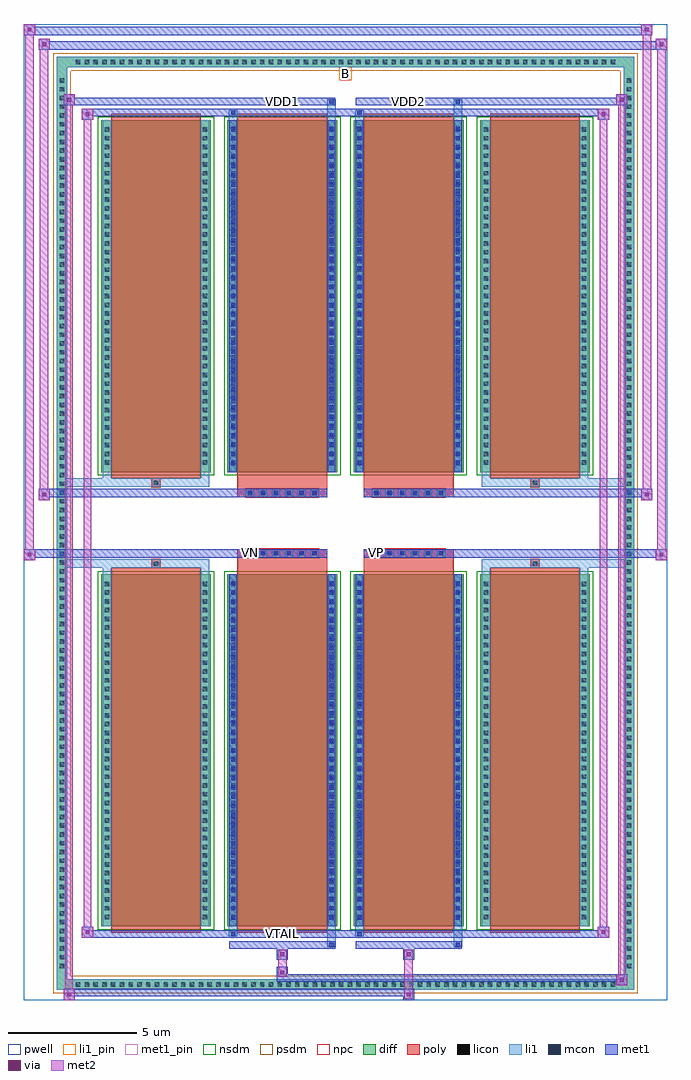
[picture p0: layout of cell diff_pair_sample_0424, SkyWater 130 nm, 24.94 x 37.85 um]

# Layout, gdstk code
import gdstk
lib = gdstk.Library(unit=1e-6, precision=5e-09)
def R(c, l, rs):  # rectangles x0, y0, x1, y1
    for r in rs: c.add(gdstk.rectangle(r[:2], r[2:], *l))
def A(c, l, x, y, w, h, nx, ny, dx, dy):  # array of equal rectangles
    R(c, l, [(x+i*dx, y+j*dy, x+i*dx+w, y+j*dy+h) for i in range(nx) for j in range(ny)])
def P(c, l, *ps):  # polygons
    for p in ps: c.add(gdstk.Polygon(p, *l))
pwell = (64, 44)
diff = (65, 20)
poly = (66, 20)
licon = (66, 44)
li1_pin = (67, 16)
li1 = (67, 20)
mcon = (67, 44)
met1_pin = (68, 16)
met1 = (68, 20)
via = (68, 44)
met2 = (69, 20)
nsdm = (93, 44)
psdm = (94, 20)
npc = (95, 20)

diff_pair_sample_0424 = lib.new_cell('diff_pair_sample_0424')
R(diff_pair_sample_0424, pwell, [(-12.47,-18.49,12.47,19.36), (-9.79,-16.68,-0.01,-0.8), (0.01,-16.68,9.79,-0.8), (-9.79,0.8,-0.01,16.68), (0.01,0.8,9.79,16.68)])
A(diff_pair_sample_0424, diff, -10.575, -18.09, 0.41, 0.41, 62, 2, 0.34, 35.77)
A(diff_pair_sample_0424, diff, -11.2, -17.375, 0.41, 0.41, 1, 102, 0, 0.34)
A(diff_pair_sample_0424, diff, 10.79, -17.375, 0.41, 0.41, 1, 102, 0, 0.34)
A(diff_pair_sample_0424, diff, -9.48, -15.635, 4.26, 13.65, 4, 2, 4.9, 17.62)
R(diff_pair_sample_0424, diff, [(-10.575,-18.09,10.575,-17.68), (-11.2,-17.375,-10.79,17.375), (10.79,-17.375,11.2,17.375), (-10.575,17.68,10.575,18.09)])
P(diff_pair_sample_0424, diff, [(11.2,18.09),(-11.2,18.09),(-11.2,-17.68),(-10.79,-17.68),(-10.79,17.68),(10.79,17.68),(10.79,-17.68),(-10.79,-17.68),(-11.2,-17.68),(-11.2,-18.09),(11.2,-18.09)])
A(diff_pair_sample_0424, poly, -9.09, -15.885, 3.48, 14.15, 4, 2, 4.9, 17.62)
A(diff_pair_sample_0424, poly, -3.865, -1.33, 0.33, 0.33, 6, 2, 0.5, 2.33)
A(diff_pair_sample_0424, poly, 1.035, -1.33, 0.33, 0.33, 6, 2, 0.5, 2.33)
R(diff_pair_sample_0424, poly, [(-7.515,-1.735,-7.185,-1.405), (-7.515,-1.735,-7.185,-1.405), (-4.19,-1.735,-0.71,-1.33), (0.71,-1.735,4.19,-1.33), (7.185,-1.735,7.515,-1.405), (7.185,-1.735,7.515,-1.405), (-4.19,-1.33,-0.71,-1), (0.71,-1.33,4.19,-1), (-4.19,1,-0.71,1.33), (0.71,1,4.19,1.33), (-4.19,1.33,-0.71,1.735), (0.71,1.33,4.19,1.735), (-7.515,1.405,-7.185,1.735), (-7.515,1.405,-7.185,1.735), (7.185,1.405,7.515,1.735), (7.185,1.405,7.515,1.735)])
A(diff_pair_sample_0424, licon, -10.455, -17.97, 0.17, 0.17, 62, 2, 0.34, 35.77)
A(diff_pair_sample_0424, licon, -11.08, -17.255, 0.17, 0.17, 1, 102, 0, 0.34)
A(diff_pair_sample_0424, licon, 10.91, -17.255, 0.17, 0.17, 1, 102, 0, 0.34)
A(diff_pair_sample_0424, licon, -9.34, -15.355, 0.17, 0.17, 1, 39, 0, 0.34)
A(diff_pair_sample_0424, licon, -5.53, -15.355, 0.17, 0.17, 1, 39, 0, 0.34)
A(diff_pair_sample_0424, licon, -4.44, -15.355, 0.17, 0.17, 1, 39, 0, 0.34)
A(diff_pair_sample_0424, licon, -0.63, -15.355, 0.17, 0.17, 1, 39, 0, 0.34)
A(diff_pair_sample_0424, licon, 0.46, -15.355, 0.17, 0.17, 1, 39, 0, 0.34)
A(diff_pair_sample_0424, licon, 4.27, -15.355, 0.17, 0.17, 1, 39, 0, 0.34)
A(diff_pair_sample_0424, licon, 5.36, -15.355, 0.17, 0.17, 1, 39, 0, 0.34)
A(diff_pair_sample_0424, licon, 9.17, -15.355, 0.17, 0.17, 1, 39, 0, 0.34)
A(diff_pair_sample_0424, licon, -3.785, -1.25, 0.17, 0.17, 6, 2, 0.5, 2.33)
A(diff_pair_sample_0424, licon, 1.115, -1.25, 0.17, 0.17, 6, 2, 0.5, 2.33)
A(diff_pair_sample_0424, licon, -9.34, 2.265, 0.17, 0.17, 1, 39, 0, 0.34)
A(diff_pair_sample_0424, licon, -5.53, 2.265, 0.17, 0.17, 1, 39, 0, 0.34)
A(diff_pair_sample_0424, licon, -4.44, 2.265, 0.17, 0.17, 1, 39, 0, 0.34)
A(diff_pair_sample_0424, licon, -0.63, 2.265, 0.17, 0.17, 1, 39, 0, 0.34)
A(diff_pair_sample_0424, licon, 0.46, 2.265, 0.17, 0.17, 1, 39, 0, 0.34)
A(diff_pair_sample_0424, licon, 4.27, 2.265, 0.17, 0.17, 1, 39, 0, 0.34)
A(diff_pair_sample_0424, licon, 5.36, 2.265, 0.17, 0.17, 1, 39, 0, 0.34)
A(diff_pair_sample_0424, licon, 9.17, 2.265, 0.17, 0.17, 1, 39, 0, 0.34)
R(diff_pair_sample_0424, licon, [(-7.435,-1.655,-7.265,-1.485), (7.265,-1.655,7.435,-1.485), (-7.435,1.485,-7.265,1.655), (7.265,1.485,7.435,1.655)])
R(diff_pair_sample_0424, li1_pin, [(-0.25,17.18,0.25,17.68)])
A(diff_pair_sample_0424, li1, -10.535, -18.05, 0.33, 0.33, 62, 2, 0.34, 35.77)
A(diff_pair_sample_0424, li1, -11.16, -17.335, 0.33, 0.33, 1, 102, 0, 0.34)
A(diff_pair_sample_0424, li1, 10.83, -17.335, 0.33, 0.33, 1, 102, 0, 0.34)
A(diff_pair_sample_0424, li1, -9.42, -15.435, 0.33, 0.33, 1, 39, 0, 0.34)
A(diff_pair_sample_0424, li1, -5.61, -15.435, 0.33, 0.33, 1, 39, 0, 0.34)
A(diff_pair_sample_0424, li1, -4.52, -15.435, 0.33, 0.33, 1, 39, 0, 0.34)
A(diff_pair_sample_0424, li1, -0.71, -15.435, 0.33, 0.33, 1, 39, 0, 0.34)
A(diff_pair_sample_0424, li1, 0.38, -15.435, 0.33, 0.33, 1, 39, 0, 0.34)
A(diff_pair_sample_0424, li1, 4.19, -15.435, 0.33, 0.33, 1, 39, 0, 0.34)
A(diff_pair_sample_0424, li1, 5.28, -15.435, 0.33, 0.33, 1, 39, 0, 0.34)
A(diff_pair_sample_0424, li1, 9.09, -15.435, 0.33, 0.33, 1, 39, 0, 0.34)
A(diff_pair_sample_0424, li1, -4.44, -15.375, 0.17, 0.17, 1, 37, 0, 0.36)
A(diff_pair_sample_0424, li1, -0.63, -15.375, 0.17, 0.17, 1, 37, 0, 0.36)
A(diff_pair_sample_0424, li1, 0.46, -15.375, 0.17, 0.17, 1, 37, 0, 0.36)
A(diff_pair_sample_0424, li1, 4.27, -15.375, 0.17, 0.17, 1, 37, 0, 0.36)
A(diff_pair_sample_0424, li1, -3.865, -1.33, 0.33, 0.33, 6, 2, 0.5, 2.33)
A(diff_pair_sample_0424, li1, 1.035, -1.33, 0.33, 0.33, 6, 2, 0.5, 2.33)
A(diff_pair_sample_0424, li1, -9.42, 2.185, 0.33, 0.33, 1, 39, 0, 0.34)
A(diff_pair_sample_0424, li1, -5.61, 2.185, 0.33, 0.33, 1, 39, 0, 0.34)
A(diff_pair_sample_0424, li1, -4.52, 2.185, 0.33, 0.33, 1, 39, 0, 0.34)
A(diff_pair_sample_0424, li1, -0.71, 2.185, 0.33, 0.33, 1, 39, 0, 0.34)
A(diff_pair_sample_0424, li1, 0.38, 2.185, 0.33, 0.33, 1, 39, 0, 0.34)
A(diff_pair_sample_0424, li1, 4.19, 2.185, 0.33, 0.33, 1, 39, 0, 0.34)
A(diff_pair_sample_0424, li1, 5.28, 2.185, 0.33, 0.33, 1, 39, 0, 0.34)
A(diff_pair_sample_0424, li1, 9.09, 2.185, 0.33, 0.33, 1, 39, 0, 0.34)
A(diff_pair_sample_0424, li1, -4.44, 2.245, 0.17, 0.17, 1, 37, 0, 0.36)
A(diff_pair_sample_0424, li1, -0.63, 2.245, 0.17, 0.17, 1, 37, 0, 0.36)
A(diff_pair_sample_0424, li1, 0.46, 2.245, 0.17, 0.17, 1, 37, 0, 0.36)
A(diff_pair_sample_0424, li1, 4.27, 2.245, 0.17, 0.17, 1, 37, 0, 0.36)
R(diff_pair_sample_0424, li1, [(-11.2,-18.09,-10.79,-17.68), (-11.2,-18.09,-10.79,-17.68), (-10.79,-18.09,10.79,-17.68), (10.79,-18.09,11.2,-17.68), (10.79,-18.09,11.2,-17.68), (-11.2,-17.68,-10.79,17.68), (10.79,-17.68,11.2,17.68), (-0.71,-16.44,-0.38,-15.635), (-0.63,-16.44,-0.46,-16.27), (4.19,-16.44,4.52,-15.635), (4.27,-16.44,4.44,-16.27), (-4.52,-16.01,-4.19,-15.635), (-4.44,-16.01,-4.27,-15.84), (0.38,-16.01,0.71,-15.635), (0.46,-16.01,0.63,-15.84), (-9.42,-15.635,-9.09,-1.985), (-5.61,-15.635,-5.28,-1.985), (-4.52,-15.635,-4.19,-1.985), (-0.71,-15.635,-0.38,-1.985), (0.38,-15.635,0.71,-1.985), (4.19,-15.635,4.52,-1.985), (5.28,-15.635,5.61,-1.985), (9.09,-15.635,9.42,-1.985), (-4.44,-15.375,-4.27,-2.245), (-0.63,-15.375,-0.46,-2.245), (0.46,-15.375,0.63,-2.245), (4.27,-15.375,4.44,-2.245), (-9.42,-1.985,-9.09,-1.405), (-5.61,-1.985,-5.28,-1.405), (5.28,-1.985,5.61,-1.405), (9.09,-1.985,9.42,-1.405), (-11.2,-1.735,-7.515,-1.405), (-9.42,-1.735,-7.515,-1.405), (-7.515,-1.735,-7.185,-1.405), (-7.185,-1.735,-5.28,-1.405), (5.28,-1.735,7.185,-1.405), (7.185,-1.735,7.515,-1.405), (7.185,-1.735,11.2,-1.405), (7.515,-1.735,9.42,-1.405), (-11.2,1.405,-7.515,1.735), (-9.42,1.405,-7.515,1.735), (-9.42,1.405,-9.09,1.985), (-7.515,1.405,-7.185,1.735), (-7.185,1.405,-5.28,1.735), (-5.61,1.405,-5.28,1.985), (5.28,1.405,7.185,1.735), (5.28,1.405,5.61,1.985), (7.185,1.405,7.515,1.735), (7.185,1.405,11.2,1.735), (7.515,1.405,9.42,1.735), (9.09,1.405,9.42,1.985), (-9.42,1.985,-9.09,15.635), (-5.61,1.985,-5.28,15.635), (-4.52,1.985,-4.19,15.635), (-0.71,1.985,-0.38,15.635), (0.38,1.985,0.71,15.635), (4.19,1.985,4.52,15.635), (5.28,1.985,5.61,15.635), (9.09,1.985,9.42,15.635), (-4.44,2.245,-4.27,15.375), (-0.63,2.245,-0.46,15.375), (0.46,2.245,0.63,15.375), (4.27,2.245,4.44,15.375), (-4.52,15.635,-4.19,16.01), (-0.71,15.635,-0.38,16.44), (0.38,15.635,0.71,16.01), (4.19,15.635,4.52,16.44), (-4.44,15.84,-4.27,16.01), (0.46,15.84,0.63,16.01), (-0.63,16.27,-0.46,16.44), (4.27,16.27,4.44,16.44), (-11.2,17.68,-10.79,18.09), (-11.2,17.68,-10.79,18.09), (-10.79,17.68,10.79,18.09), (10.79,17.68,11.2,18.09), (10.79,17.68,11.2,18.09)])
A(diff_pair_sample_0424, mcon, -4.44, -15.375, 0.17, 0.17, 1, 37, 0, 0.36)
A(diff_pair_sample_0424, mcon, -0.63, -15.375, 0.17, 0.17, 1, 37, 0, 0.36)
A(diff_pair_sample_0424, mcon, 0.46, -15.375, 0.17, 0.17, 1, 37, 0, 0.36)
A(diff_pair_sample_0424, mcon, 4.27, -15.375, 0.17, 0.17, 1, 37, 0, 0.36)
A(diff_pair_sample_0424, mcon, -3.785, -1.25, 0.17, 0.17, 6, 2, 0.5, 2.33)
A(diff_pair_sample_0424, mcon, 1.115, -1.25, 0.17, 0.17, 6, 2, 0.5, 2.33)
A(diff_pair_sample_0424, mcon, -4.44, 2.245, 0.17, 0.17, 1, 37, 0, 0.36)
A(diff_pair_sample_0424, mcon, -0.63, 2.245, 0.17, 0.17, 1, 37, 0, 0.36)
A(diff_pair_sample_0424, mcon, 0.46, 2.245, 0.17, 0.17, 1, 37, 0, 0.36)
A(diff_pair_sample_0424, mcon, 4.27, 2.245, 0.17, 0.17, 1, 37, 0, 0.36)
R(diff_pair_sample_0424, mcon, [(-0.63,-16.44,-0.46,-16.27), (4.27,-16.44,4.44,-16.27), (-4.44,-16.01,-4.27,-15.84), (0.46,-16.01,0.63,-15.84), (-4.44,15.84,-4.27,16.01), (0.46,15.84,0.63,16.01), (-0.63,16.27,-0.46,16.44), (4.27,16.27,4.44,16.44)])
R(diff_pair_sample_0424, met1_pin, [(-2.585,-16.05,-2.315,-15.78), (-3.835,-1.29,-3.565,-1.02), (1.065,-1.29,1.335,-1.02), (-2.585,16.23,-2.315,16.5), (2.315,16.23,2.585,16.5)])
A(diff_pair_sample_0424, met1, -4.5, -15.435, 0.29, 0.29, 1, 37, 0, 0.36)
A(diff_pair_sample_0424, met1, -0.69, -15.435, 0.29, 0.29, 1, 37, 0, 0.36)
A(diff_pair_sample_0424, met1, 0.4, -15.435, 0.29, 0.29, 1, 37, 0, 0.36)
A(diff_pair_sample_0424, met1, 4.21, -15.435, 0.29, 0.29, 1, 37, 0, 0.36)
A(diff_pair_sample_0424, met1, -3.845, -1.31, 0.29, 0.29, 6, 2, 0.5, 2.33)
A(diff_pair_sample_0424, met1, 1.055, -1.31, 0.29, 0.29, 6, 2, 0.5, 2.33)
A(diff_pair_sample_0424, met1, -4.5, 2.185, 0.29, 0.29, 1, 37, 0, 0.36)
A(diff_pair_sample_0424, met1, -0.69, 2.185, 0.29, 0.29, 1, 37, 0, 0.36)
A(diff_pair_sample_0424, met1, 0.4, 2.185, 0.29, 0.29, 1, 37, 0, 0.36)
A(diff_pair_sample_0424, met1, 4.21, 2.185, 0.29, 0.29, 1, 37, 0, 0.36)
R(diff_pair_sample_0424, met1, [(-10.93,-18.49,-10.5,-18.06), (2.235,-18.49,2.665,-18.06), (-10.93,-18.35,2.665,-18.06), (10.5,-17.92,10.93,-17.49), (-2.665,-17.78,10.93,-17.49), (-2.665,-17.64,-2.235,-17.21), (-2.665,-16.93,-2.235,-16.5), (2.235,-16.93,2.665,-16.5), (-4.5,-16.5,-0.4,-16.21), (-0.69,-16.5,-0.4,-16.21), (0.4,-16.5,4.5,-16.21), (4.21,-16.5,4.5,-16.21), (-10.22,-16.07,-9.79,-15.64), (-10.22,-16.07,-4.5,-15.78), (-4.5,-16.07,-4.21,-15.78), (-4.5,-16.07,-0.4,-15.78), (-0.4,-16.07,0.4,-15.78), (0.4,-16.07,0.69,-15.78), (0.4,-16.07,4.5,-15.78), (4.5,-16.07,10.22,-15.78), (9.79,-16.07,10.22,-15.64), (-4.5,-15.635,-4.21,-1.985), (-0.69,-15.635,-0.4,-1.985), (0.4,-15.635,0.69,-1.985), (4.21,-15.635,4.5,-1.985), (-12.47,-1.43,-12.04,-1), (12.04,-1.43,12.47,-1), (-12.47,-1.33,-0.71,-1), (-4.19,-1.33,-0.71,-1), (0.71,-1.33,4.19,-1), (0.71,-1.33,12.47,-1), (-11.9,0.9,-11.47,1.33), (11.47,0.9,11.9,1.33), (-11.9,1,-4.19,1.33), (-4.19,1,-0.71,1.33), (0.71,1,4.19,1.33), (4.19,1,11.9,1.33), (-4.5,1.985,-4.21,15.635), (-0.69,1.985,-0.4,15.635), (0.4,1.985,0.69,15.635), (4.21,1.985,4.5,15.635), (-10.22,15.64,-9.79,16.07), (9.79,15.64,10.22,16.07), (-10.22,15.78,-4.5,16.07), (-4.5,15.78,-4.21,16.07), (-4.5,15.78,-0.4,16.07), (-0.4,15.78,0.4,16.07), (0.4,15.78,0.69,16.07), (0.4,15.78,4.5,16.07), (4.5,15.78,10.22,16.07), (-10.93,16.21,-10.5,16.64), (-10.93,16.21,-4.5,16.5), (-4.5,16.21,-0.4,16.5), (-0.69,16.21,-0.4,16.5), (0.4,16.21,4.5,16.5), (4.21,16.21,4.5,16.5), (4.5,16.21,10.93,16.5), (10.5,16.21,10.93,16.64), (-11.9,18.36,-11.47,18.79), (-11.9,18.36,-9.79,18.69), (-9.79,18.36,9.79,18.69), (9.79,18.36,12.47,18.69), (12.04,18.36,12.47,18.79), (-12.47,18.93,-12.04,19.36), (-12.47,18.93,-9.79,19.26), (-9.79,18.93,9.79,19.26), (9.79,18.93,11.9,19.26), (11.47,18.93,11.9,19.36)])
R(diff_pair_sample_0424, via, [(-10.79,-18.35,-10.64,-18.2), (2.375,-18.35,2.525,-18.2), (10.64,-17.78,10.79,-17.63), (-2.525,-17.5,-2.375,-17.35), (-2.525,-16.79,-2.375,-16.64), (2.375,-16.79,2.525,-16.64), (-10.08,-15.93,-9.93,-15.78), (9.93,-15.93,10.08,-15.78), (-12.33,-1.29,-12.18,-1.14), (12.18,-1.29,12.33,-1.14), (-11.76,1.04,-11.61,1.19), (11.61,1.04,11.76,1.19), (-10.08,15.78,-9.93,15.93), (9.93,15.78,10.08,15.93), (-10.79,16.35,-10.64,16.5), (10.64,16.35,10.79,16.5), (-11.76,18.5,-11.61,18.65), (12.18,18.5,12.33,18.65), (-12.33,19.07,-12.18,19.22), (11.61,19.07,11.76,19.22)])
R(diff_pair_sample_0424, met2, [(-10.93,-18.49,-10.5,-18.06), (-10.86,-18.49,-10.57,16.64), (-10.57,-18.49,-10.5,-18.06), (-10.88,-18.44,-10.55,-18.11), (2.285,-18.44,2.615,-18.11), (2.285,-18.11,2.615,-16.88), (10.5,-17.92,10.93,-17.49), (10.57,-17.92,10.86,16.64), (10.86,-17.92,10.93,-17.49), (10.55,-17.87,10.88,-17.54), (-2.615,-17.59,-2.285,-17.26), (-2.615,-17.26,-2.285,-16.88), (-2.615,-16.88,-2.285,-16.55), (2.285,-16.88,2.615,-16.55), (-10.22,-16.07,-9.79,-15.64), (-10.15,-16.07,-9.86,16.07), (-9.86,-16.07,-9.79,-15.64), (9.79,-16.07,10.22,-15.64), (9.86,-16.07,10.15,16.07), (10.15,-16.07,10.22,-15.64), (-10.17,-16.02,-9.84,-15.69), (9.84,-16.02,10.17,-15.69), (-12.47,-1.43,-12.04,-1), (-12.42,-1.43,-12.09,19.36), (-12.09,-1.43,-12.04,-1), (12.04,-1.43,12.47,-1), (12.09,-1.43,12.42,18.79), (12.42,-1.43,12.47,-1), (-12.42,-1.38,-12.09,-1.05), (12.09,-1.38,12.42,-1.05), (-11.9,0.9,-11.47,1.33), (-11.85,0.9,-11.52,18.79), (-11.52,0.9,-11.47,1.33), (11.47,0.9,11.9,1.33), (11.52,0.9,11.85,19.36), (11.85,0.9,11.9,1.33), (-11.85,0.95,-11.52,1.28), (11.52,0.95,11.85,1.28), (-10.22,15.64,-9.79,16.07), (-9.86,15.64,-9.79,16.07), (9.79,15.64,10.22,16.07), (10.15,15.64,10.22,16.07), (-10.17,15.69,-9.84,16.02), (9.84,15.69,10.17,16.02), (-10.93,16.21,-10.5,16.64), (-10.57,16.21,-10.5,16.64), (10.5,16.21,10.93,16.64), (10.86,16.21,10.93,16.64), (-10.88,16.26,-10.55,16.59), (10.55,16.26,10.88,16.59), (-11.9,18.36,-11.47,18.79), (-11.52,18.36,-11.47,18.79), (12.04,18.36,12.47,18.79), (12.42,18.36,12.47,18.79), (-11.85,18.41,-11.52,18.74), (12.09,18.41,12.42,18.74), (-12.47,18.93,-12.04,19.36), (-12.09,18.93,-12.04,19.36), (11.47,18.93,11.9,19.36), (11.85,18.93,11.9,19.36), (-12.42,18.98,-12.09,19.31), (11.52,18.98,11.85,19.31)])
A(diff_pair_sample_0424, nsdm, -9.61, -15.765, 4.52, 13.91, 4, 2, 4.9, 17.62)
P(diff_pair_sample_0424, psdm, [(11.33,18.22),(-11.33,18.22),(-11.33,-17.55),(-10.66,-17.55),(-10.66,17.55),(10.66,17.55),(10.66,-17.55),(-10.66,-17.55),(-11.33,-17.55),(-11.33,-18.22),(11.33,-18.22)])
A(diff_pair_sample_0424, npc, -3.885, -1.35, 0.37, 0.37, 6, 2, 0.5, 2.33)
A(diff_pair_sample_0424, npc, 1.015, -1.35, 0.37, 0.37, 6, 2, 0.5, 2.33)
R(diff_pair_sample_0424, npc, [(-7.535,-1.755,-7.165,-1.385), (7.165,-1.755,7.535,-1.385), (-3.885,-1.35,-3.015,-0.98), (-3.885,-1.35,-3.015,-0.98), (-3.385,-1.35,-2.515,-0.98), (-3.385,-1.35,-2.515,-0.98), (-2.885,-1.35,-2.015,-0.98), (-2.885,-1.35,-2.015,-0.98), (-2.385,-1.35,-1.515,-0.98), (-2.385,-1.35,-1.515,-0.98), (-1.885,-1.35,-1.015,-0.98), (-1.885,-1.35,-1.015,-0.98), (1.015,-1.35,1.885,-0.98), (1.015,-1.35,1.885,-0.98), (1.515,-1.35,2.385,-0.98), (1.515,-1.35,2.385,-0.98), (2.015,-1.35,2.885,-0.98), (2.015,-1.35,2.885,-0.98), (2.515,-1.35,3.385,-0.98), (2.515,-1.35,3.385,-0.98), (3.015,-1.35,3.885,-0.98), (3.015,-1.35,3.885,-0.98), (-3.885,0.98,-3.015,1.35), (-3.885,0.98,-3.015,1.35), (-3.385,0.98,-2.515,1.35), (-3.385,0.98,-2.515,1.35), (-2.885,0.98,-2.015,1.35), (-2.885,0.98,-2.015,1.35), (-2.385,0.98,-1.515,1.35), (-2.385,0.98,-1.515,1.35), (-1.885,0.98,-1.015,1.35), (-1.885,0.98,-1.015,1.35), (1.015,0.98,1.885,1.35), (1.015,0.98,1.885,1.35), (1.515,0.98,2.385,1.35), (1.515,0.98,2.385,1.35), (2.015,0.98,2.885,1.35), (2.015,0.98,2.885,1.35), (2.515,0.98,3.385,1.35), (2.515,0.98,3.385,1.35), (3.015,0.98,3.885,1.35), (3.015,0.98,3.885,1.35), (-7.535,1.385,-7.165,1.755), (7.165,1.385,7.535,1.755)])
diff_pair_sample_0424.add(gdstk.Label('VTAIL', (-2.45,-15.915), layer=68, texttype=5))
diff_pair_sample_0424.add(gdstk.Label('VN', (-3.7,-1.155), layer=68, texttype=5))
diff_pair_sample_0424.add(gdstk.Label('VP', (1.2,-1.155), layer=68, texttype=5))
diff_pair_sample_0424.add(gdstk.Label('B', (0,17.43), layer=67, texttype=5))
diff_pair_sample_0424.add(gdstk.Label('VDD2', (2.45,16.365), layer=68, texttype=5))
diff_pair_sample_0424.add(gdstk.Label('VDD1', (-2.45,16.365), layer=68, texttype=5))

lib.write_gds('diff_pair_sample_0424.gds')
